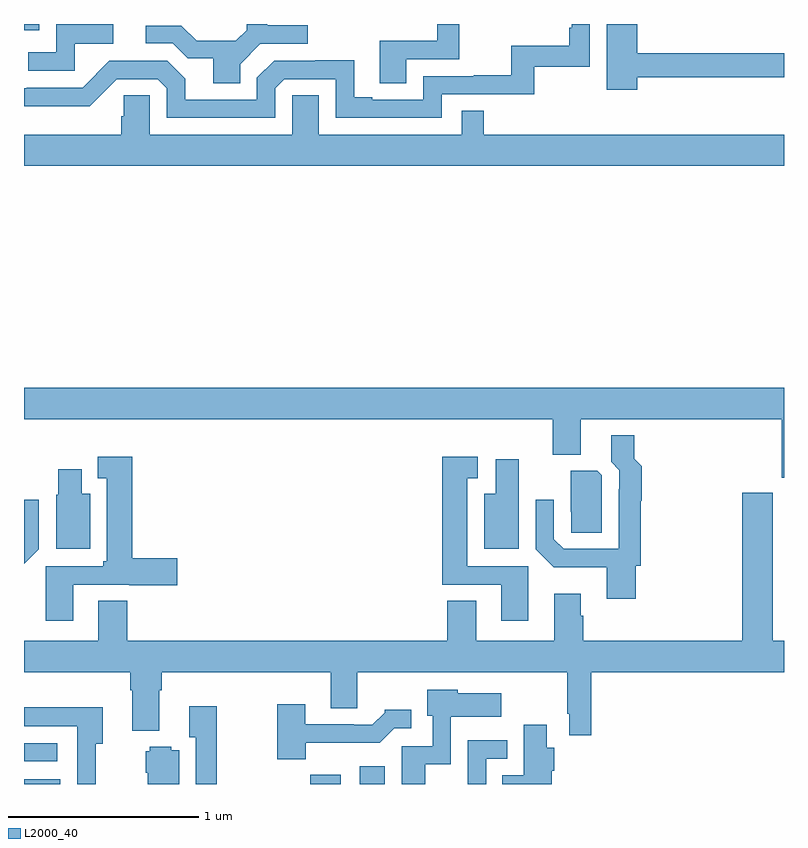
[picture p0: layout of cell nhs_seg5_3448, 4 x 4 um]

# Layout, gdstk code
import gdstk
lib = gdstk.Library(unit=1e-6, precision=1e-09)
def R(c, l, rs):  # rectangles x0, y0, x1, y1
    for r in rs: c.add(gdstk.rectangle(r[:2], r[2:], *l))
def P(c, l, *ps):  # polygons
    for p in ps: c.add(gdstk.Polygon(p, *l))
L2000_40 = (2000, 40)

nhs_seg5_3448 = lib.new_cell('nhs_seg5_3448')
R(nhs_seg5_3448, L2000_40, [(313,894.799,313.192,894.825), (314.506,894.799,314.668,894.847), (314.768,894.799,314.899,894.892), (313,894.918,313.174,895.014), (313,898.767,313.08,898.799), (313.945,898.797,314.082,898.799)])
P(nhs_seg5_3448, L2000_40, [(313.266,898.695),(313.471,898.695),(313.471,898.799),(313.17,898.799),(313.17,898.65),(313.023,898.65),(313.023,898.554),(313.266,898.554)],
  [(315.013,898.614),(315.29,898.614),(315.29,898.799),(315.174,898.799),(315.174,898.71),(314.873,898.71),(314.873,898.486),(315.013,898.486)],
  [(314.137,898.588),(314.244,898.695),(314.494,898.695),(314.494,898.792),(314.281,898.792),(314.281,898.799),(314.172,898.799),(314.172,898.767),(314.115,898.71),(313.909,898.71),(313.828,898.791),(313.641,898.791),(313.641,898.698),(313.782,898.698),(313.862,898.618),(313.997,898.618),(313.997,898.486),(314.137,898.486)],
  [(316.228,898.518),(317,898.518),(317,898.646),(316.228,898.646),(316.228,898.799),(316.067,898.799),(316.067,898.452),(316.228,898.452)],
  [(314.322,898.461),(314.37,898.509),(314.64,898.509),(314.64,898.305),(315.198,898.305),(315.198,898.428),(315.685,898.428),(315.685,898.575),(315.978,898.575),(315.978,898.799),(315.882,898.799),(315.882,898.78),(315.869,898.78),(315.869,898.684),(315.564,898.684),(315.564,898.529),(315.367,898.529),(315.367,898.524),(315.102,898.524),(315.102,898.401),(314.833,898.401),(314.833,898.414),(314.737,898.414),(314.737,898.607),(314.532,898.607),(314.532,898.605),(314.316,898.605),(314.226,898.515),(314.226,898.401),(313.849,898.401),(313.849,898.511),(313.755,898.605),(313.449,898.605),(313.308,898.464),(313.015,898.464),(313.015,898.461),(313,898.461),(313,898.365),(313.11,898.365),(313.11,898.367),(313.346,898.367),(313.488,898.509),(313.704,898.509),(313.752,898.461),(313.752,898.305),(314.322,898.305)],
  [(315.303,898.343),(315.303,898.216),(314.551,898.216),(314.551,898.424),(314.412,898.424),(314.412,898.216),(313.662,898.216),(313.662,898.424),(313.525,898.424),(313.525,898.314),(313.511,898.314),(313.511,898.216),(313,898.216),(313,898.052),(317,898.052),(317,898.216),(315.419,898.216),(315.419,898.343)],
  [(317,896.884),(313,896.884),(313,896.72),(315.784,896.72),(315.784,896.533),(315.931,896.533),(315.931,896.72),(316.988,896.72),(316.988,896.411),(317,896.411)],
  [(316.22,895.947),(316.247,895.947),(316.247,896.29),(316.25,896.29),(316.25,896.472),(316.211,896.511),(316.211,896.635),(316.091,896.635),(316.091,896.494),(316.134,896.451),(316.134,896.351),(316.131,896.351),(316.131,896.037),(315.84,896.037),(315.789,896.088),(315.789,896.296),(315.693,896.296),(315.693,896.034),(315.787,895.94),(316.067,895.94),(316.067,895.773),(316.22,895.773)],
  [(313.258,895.848),(313.554,895.848),(313.554,895.846),(313.807,895.846),(313.807,895.988),(313.571,895.988),(313.571,896.521),(313.388,896.521),(313.388,896.408),(313.436,896.408),(313.436,895.971),(313.418,895.971),(313.418,895.944),(313.115,895.944),(313.115,895.659),(313.258,895.659)],
  [(315.655,895.944),(315.334,895.944),(315.334,896.408),(315.388,896.408),(315.388,896.521),(315.2,896.521),(315.2,895.848),(315.512,895.848),(315.512,895.659),(315.655,895.659)],
  [(315.604,896.509),(315.482,896.509),(315.482,896.326),(315.422,896.326),(315.422,896.036),(315.604,896.036)],
  [(313.348,896.326),(313.303,896.326),(313.303,896.455),(313.181,896.455),(313.181,896.322),(313.169,896.322),(313.169,896.036),(313.348,896.036)],
  [(316.041,896.424),(316.017,896.448),(315.878,896.448),(315.878,896.233),(315.879,896.233),(315.879,896.122),(316.041,896.122)],
  [(315.986,895.388),(317,895.388),(317,895.552),(316.941,895.552),(316.941,896.332),(316.781,896.332),(316.781,895.552),(315.944,895.552),(315.944,895.685),(315.931,895.685),(315.931,895.801),(315.791,895.801),(315.791,895.552),(315.379,895.552),(315.379,895.763),(315.227,895.763),(315.227,895.552),(313.544,895.552),(313.544,895.763),(313.391,895.763),(313.391,895.552),(313,895.552),(313,895.388),(313.559,895.388),(313.559,895.292),(313.571,895.292),(313.571,895.079),(313.711,895.079),(313.711,895.292),(313.724,895.292),(313.724,895.388),(314.615,895.388),(314.615,895.198),(314.755,895.198),(314.755,895.388),(315.858,895.388),(315.858,895.168),(315.87,895.168),(315.87,895.056),(315.986,895.056)],
  [(313.077,896.034),(313.077,896.296),(313,896.296),(313,895.957)],
  [(315.112,894.902),(315.246,894.902),(315.246,895.154),(315.511,895.154),(315.511,895.276),(315.282,895.276),(315.282,895.294),(315.122,895.294),(315.122,895.158),(315.15,895.158),(315.15,894.999),(314.987,894.999),(314.987,894.799),(315.112,894.799)],
  [(314.482,895.016),(314.873,895.016),(314.949,895.092),(315.037,895.092),(315.037,895.189),(314.898,895.189),(314.898,895.174),(314.834,895.11),(314.735,895.11),(314.735,895.113),(314.479,895.113),(314.479,895.219),(314.332,895.219),(314.332,894.929),(314.482,894.929)],
  [(314.014,895.207),(313.871,895.207),(313.871,895.046),(313.905,895.046),(313.905,894.799),(314.014,894.799)],
  [(313.377,895.01),(313.414,895.01),(313.414,895.202),(313,895.202),(313,895.104),(313.281,895.104),(313.281,894.799),(313.377,894.799)],
  [(315.778,894.868),(315.791,894.868),(315.791,894.99),(315.751,894.99),(315.751,895.111),(315.629,895.111),(315.629,894.844),(315.517,894.844),(315.517,894.799),(315.778,894.799)],
  [(315.432,894.933),(315.544,894.933),(315.544,895.029),(315.336,895.029),(315.336,894.799),(315.432,894.799)],
  [(313.816,894.976),(313.776,894.976),(313.776,894.994),(313.662,894.994),(313.662,894.972),(313.64,894.972),(313.64,894.858),(313.652,894.858),(313.652,894.799),(313.816,894.799)])

lib.write_gds('nhs_seg5_3448.gds')
